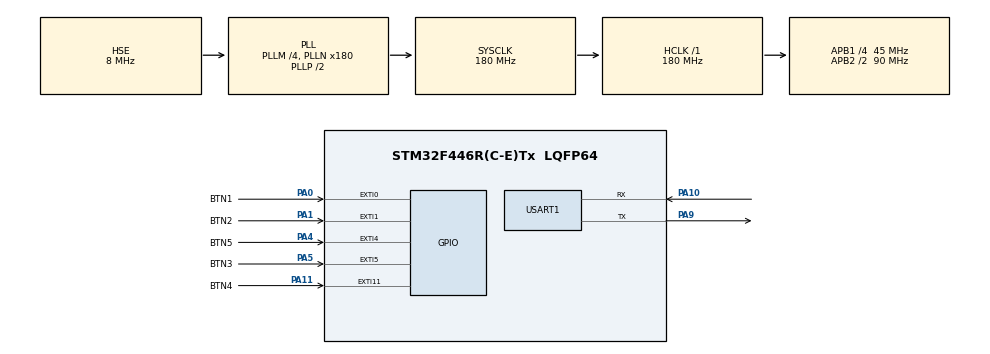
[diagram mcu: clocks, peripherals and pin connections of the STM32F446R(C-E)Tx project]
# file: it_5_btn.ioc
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Mcu.Family=STM32F4
Mcu.Name=STM32F446R(C-E)Tx
Mcu.Package=LQFP64
Mcu.UserConstants=DEBOUNCE,10000
NVIC.EXTI0_IRQn=true\:0\:0\:false\:false\:true\:true\:true\:true
NVIC.EXTI15_10_IRQn=true\:0\:0\:false\:false\:true\:true\:true\:true
NVIC.EXTI1_IRQn=true\:0\:0\:false\:false\:true\:true\:true\:true
NVIC.EXTI4_IRQn=true\:0\:0\:false\:false\:true\:true\:true\:true
NVIC.EXTI9_5_IRQn=true\:0\:0\:false\:false\:true\:true\:true\:true
NVIC.PriorityGroup=NVIC_PRIORITYGROUP_0
PA0-WKUP.GPIO_Label=BTN1
PA0-WKUP.GPIO_ModeDefaultEXTI=GPIO_MODE_IT_FALLING
PA0-WKUP.GPIO_PuPd=GPIO_PULLUP
PA0-WKUP.Signal=GPXTI0
PA1.GPIO_Label=BTN2
PA1.GPIO_ModeDefaultEXTI=GPIO_MODE_IT_FALLING
PA1.GPIO_PuPd=GPIO_PULLUP
PA1.Signal=GPXTI1
PA10.Mode=Asynchronous
PA10.Signal=USART1_RX
PA11.GPIO_Label=BTN4
PA11.GPIO_ModeDefaultEXTI=GPIO_MODE_IT_FALLING
PA11.GPIO_PuPd=GPIO_PULLUP
PA11.Signal=GPXTI11
PA13.Mode=Serial_Wire
PA13.Signal=SYS_JTMS-SWDIO
PA14.Mode=Serial_Wire
PA14.Signal=SYS_JTCK-SWCLK
PA4.GPIO_Label=BTN5
PA4.GPIO_ModeDefaultEXTI=GPIO_MODE_IT_FALLING
PA4.GPIO_PuPd=GPIO_PULLUP
PA4.Signal=GPXTI4
PA5.GPIO_Label=BTN3
PA5.GPIO_ModeDefaultEXTI=GPIO_MODE_IT_FALLING
PA5.GPIO_PuPd=GPIO_PULLUP
PA5.Signal=GPXTI5
PA9.Mode=Asynchronous
PA9.Signal=USART1_TX
PH0-OSC_IN.Mode=HSE-External-Oscillator
PH0-OSC_IN.Signal=RCC_OSC_IN
PH1-OSC_OUT.Mode=HSE-External-Oscillator
PH1-OSC_OUT.Signal=RCC_OSC_OUT
ProjectManager.HeapSize=0x200
ProjectManager.StackSize=0x400
ProjectManager.TargetToolchain=Makefile
RCC.48MHZClocksFreq_Value=84000000
RCC.AHBFreq_Value=180000000
RCC.APB1CLKDivider=RCC_HCLK_DIV4
RCC.APB1Freq_Value=45000000
RCC.APB1TimFreq_Value=90000000
RCC.APB2CLKDivider=RCC_HCLK_DIV2
RCC.APB2Freq_Value=90000000
RCC.APB2TimFreq_Value=180000000
RCC.CortexFreq_Value=180000000
RCC.FLatency-AdvancedSettings=FLASH_LATENCY_5
RCC.HCLKFreq_Value=180000000
RCC.HSE_VALUE=8000000
RCC.HSI_VALUE=16000000
RCC.PLLM=4
RCC.PLLN=180
RCC.PLLSourceVirtual=RCC_PLLSOURCE_HSE
RCC.SYSCLKFreq_VALUE=180000000
RCC.SYSCLKSource=RCC_SYSCLKSOURCE_PLLCLK
RCC.USBFreq_Value=180000000
RCC.VCOOutputFreq_Value=360000000
USART1.VirtualMode=VM_ASYNC
board=NUCLEO-F446RE

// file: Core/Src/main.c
/* USER CODE BEGIN Header */
/**
  ******************************************************************************
  * @file           : main.c
  * @brief          : Main program body
  ******************************************************************************
  * @attention
  *
  * Copyright (c) 2025 STMicroelectronics.
  * All rights reserved.
  *
  * This software is licensed under terms that can be found in the LICENSE file
  * in the root directory of this software component.
  * If no LICENSE file comes with this software, it is provided AS-IS.
  *
  ******************************************************************************
  */
/* USER CODE END Header */
#include "main.h"
#include "usart.h"
#include "gpio.h"

/* USER CODE BEGIN Includes */
#include "string.h"
#include "stdio.h"
/* USER CODE END Includes */

/* USER CODE BEGIN PD */
#define N_BTN 5
#define DEBOUNCE_DELAY 100
/* USER CODE END PD */

/* USER CODE BEGIN PV */
uint8_t btn_state[N_BTN] = {0};
uint32_t last_press_time[N_BTN] = {0};
/* USER CODE END PV */

void SystemClock_Config(void);

/* USER CODE BEGIN 0 */

void handle_press(GPIO_TypeDef *gpiox, uint16_t GPIO_pin, uint8_t num) {
  GPIO_PinState pin_state = HAL_GPIO_ReadPin(gpiox, GPIO_pin);
  uint32_t now = uwTick;

  if (pin_state == GPIO_PIN_RESET && (now - last_press_time[num]) > DEBOUNCE_DELAY) {
    btn_state[num] ^= 1;
    last_press_time[num] = now;

  char debug[32];
  sprintf(debug, "BTN %hu pressed\r\n", (num+1));
  HAL_UART_Transmit(&huart1, (uint8_t*)debug, strlen(debug), HAL_MAX_DELAY);
  }
}

void HAL_GPIO_EXTI_Callback(uint16_t GPIO_pin) {
  char debug[32];
  sprintf(debug, "CALLBACK\r\n");
  HAL_UART_Transmit(&huart1, (uint8_t*)debug, strlen(debug), HAL_MAX_DELAY);
  switch (GPIO_pin) {
  case BTN1_Pin:
    handle_press(BTN1_GPIO_Port, BTN1_Pin, 0);
    break;
  case BTN2_Pin:
    handle_press(BTN2_GPIO_Port, BTN2_Pin, 1);
    break;
  case BTN3_Pin:
    handle_press(BTN3_GPIO_Port, BTN3_Pin, 2);
    break;
  case BTN4_Pin:
    handle_press(BTN4_GPIO_Port, BTN4_Pin, 3);
    break;
  case BTN5_Pin:
    handle_press(BTN5_GPIO_Port, BTN5_Pin, 4);
    break;
  default:
    break;
  }
}
/* USER CODE END 0 */

int main(void)
{

  /* MCU Configuration--------------------------------------------------------*/

  /* Reset of all peripherals, Initializes the Flash interface and the Systick. */
  HAL_Init();

  /* Configure the system clock */
  SystemClock_Config();

  /* Initialize all configured peripherals */
  MX_GPIO_Init();
  MX_USART1_UART_Init();

  /* Infinite loop */
  /* USER CODE BEGIN WHILE */
  char msg[32];
  uint32_t last_time = 0;
  const uint32_t interval = 500;
  while (1) {
    uint32_t now = uwTick;

    if (now - last_time >= interval) {
      last_time = now;

      sprintf(msg, "states: %d %d %d %d %d\r\n",
      btn_state[0], btn_state[1], btn_state[2], btn_state[3], btn_state[4]);
      HAL_UART_Transmit(&huart1, (uint8_t*)msg, strlen(msg), HAL_MAX_DELAY);
    }
    /* USER CODE END WHILE */

  }
}

void SystemClock_Config(void)
{
  RCC_OscInitTypeDef RCC_OscInitStruct = {0};
  RCC_ClkInitTypeDef RCC_ClkInitStruct = {0};

  /** Configure the main internal regulator output voltage
  */
  __HAL_RCC_PWR_CLK_ENABLE();
  __HAL_PWR_VOLTAGESCALING_CONFIG(PWR_REGULATOR_VOLTAGE_SCALE1);

  /** Initializes the RCC Oscillators according to the specified parameters
  * in the RCC_OscInitTypeDef structure.
  */
  RCC_OscInitStruct.OscillatorType = RCC_OSCILLATORTYPE_HSE;
  RCC_OscInitStruct.HSEState = RCC_HSE_ON;
  RCC_OscInitStruct.PLL.PLLState = RCC_PLL_ON;
  RCC_OscInitStruct.PLL.PLLSource = RCC_PLLSOURCE_HSE;
  RCC_OscInitStruct.PLL.PLLM = 4;
  RCC_OscInitStruct.PLL.PLLN = 180;
  RCC_OscInitStruct.PLL.PLLP = RCC_PLLP_DIV2;
  RCC_OscInitStruct.PLL.PLLQ = 2;
  RCC_OscInitStruct.PLL.PLLR = 2;
  if (HAL_RCC_OscConfig(&RCC_OscInitStruct) != HAL_OK)
  {
    Error_Handler();
  }

  /** Activate the Over-Drive mode
  */
  if (HAL_PWREx_EnableOverDrive() != HAL_OK)
  {
    Error_Handler();
  }

  /** Initializes the CPU, AHB and APB buses clocks
  */
  RCC_ClkInitStruct.ClockType = RCC_CLOCKTYPE_HCLK|RCC_CLOCKTYPE_SYSCLK
                              |RCC_CLOCKTYPE_PCLK1|RCC_CLOCKTYPE_PCLK2;
  RCC_ClkInitStruct.SYSCLKSource = RCC_SYSCLKSOURCE_PLLCLK;
  RCC_ClkInitStruct.AHBCLKDivider = RCC_SYSCLK_DIV1;
  RCC_ClkInitStruct.APB1CLKDivider = RCC_HCLK_DIV4;
  RCC_ClkInitStruct.APB2CLKDivider = RCC_HCLK_DIV2;

  if (HAL_RCC_ClockConfig(&RCC_ClkInitStruct, FLASH_LATENCY_5) != HAL_OK)
  {
    Error_Handler();
  }
}

void Error_Handler(void)
{
  __disable_irq();
  while (1)
  {
  }
}
